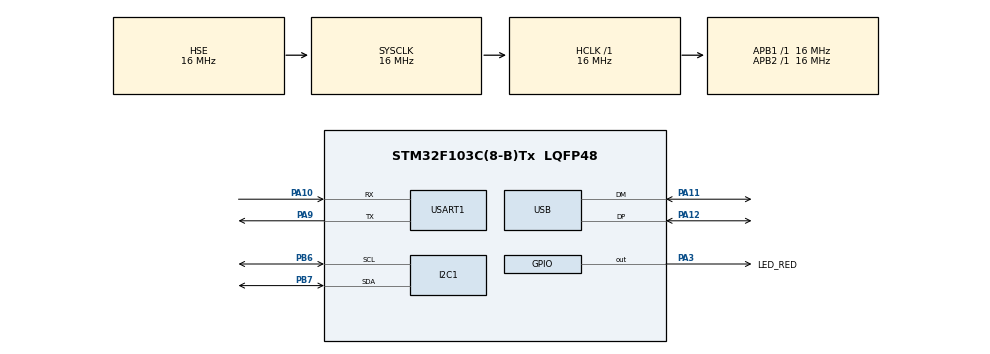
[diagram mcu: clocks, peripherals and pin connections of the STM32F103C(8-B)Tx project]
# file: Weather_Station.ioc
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I2C1.I2C_Mode=I2C_Fast
Mcu.Family=STM32F1
Mcu.Name=STM32F103C(8-B)Tx
Mcu.Package=LQFP48
NVIC.PriorityGroup=NVIC_PRIORITYGROUP_4
NVIC.USB_LP_CAN1_RX0_IRQn=true\:0\:0\:false\:false\:true\:false\:true\:true
PA10.Mode=Asynchronous
PA10.Signal=USART1_RX
PA11.Mode=Device
PA11.Signal=USB_DM
PA12.Mode=Device
PA12.Signal=USB_DP
PA13.GPIO_Label=SWDIO
PA13.Mode=Serial_Wire
PA13.Signal=SYS_JTMS-SWDIO
PA14.GPIO_Label=SWCLK
PA14.Mode=Serial_Wire
PA14.Signal=SYS_JTCK-SWCLK
PA3.GPIO_Label=LED_RED
PA3.Signal=GPIO_Output
PA9.Mode=Asynchronous
PA9.Signal=USART1_TX
PB6.Mode=I2C
PB6.Signal=I2C1_SCL
PB7.Mode=I2C
PB7.Signal=I2C1_SDA
PD0-OSC_IN.Mode=HSE-External-Oscillator
PD0-OSC_IN.Signal=RCC_OSC_IN
PD1-OSC_OUT.Mode=HSE-External-Oscillator
PD1-OSC_OUT.Signal=RCC_OSC_OUT
ProjectManager.HeapSize=0x200
ProjectManager.StackSize=0x400
ProjectManager.TargetToolchain=STM32CubeIDE
RCC.AHBFreq_Value=16000000
RCC.APB1Freq_Value=16000000
RCC.APB1TimFreq_Value=16000000
RCC.APB2Freq_Value=16000000
RCC.APB2TimFreq_Value=16000000
RCC.HCLKFreq_Value=16000000
RCC.HSE_VALUE=16000000
RCC.PLLMUL=RCC_PLL_MUL3
RCC.SYSCLKFreq_VALUE=16000000
RCC.SYSCLKSource=RCC_SYSCLKSOURCE_HSE
RCC.USBFreq_Value=48000000
USART1.VirtualMode=VM_ASYNC
USB_DEVICE.CLASS_NAME_FS=CDC
USB_DEVICE.VirtualMode=Cdc
USB_DEVICE.VirtualModeFS=Cdc_FS
VP_USB_DEVICE_VS_USB_DEVICE_CDC_FS.Mode=CDC_FS
board=custom

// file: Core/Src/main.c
/* USER CODE BEGIN Header */
/**
  ******************************************************************************
  * @file           : main.c
  * @brief          : Main program body
  ******************************************************************************
  * @attention
  *
  * Copyright (c) 2024 STMicroelectronics.
  * All rights reserved.
  *
  * This software is licensed under terms that can be found in the LICENSE file
  * in the root directory of this software component.
  * If no LICENSE file comes with this software, it is provided AS-IS.
  *
  ******************************************************************************
  */
/* USER CODE END Header */
#include "main.h"
#include "usb_device.h"

/* USER CODE BEGIN Includes */
#include "HDC1080.h"
#include "PCF8563.h"
#include "usbd_cdc_if.h"
#include "ssd1306.h"
#include "display.h"
/* USER CODE END Includes */

I2C_HandleTypeDef hi2c1;

UART_HandleTypeDef huart1;

/* USER CODE BEGIN PV */
ws_value_t weather_station_data;
uint8_t buffer_UART[100];
char temp_str[10];
char humid_str[10];
char buffer[100];
/* USER CODE END PV */

void SystemClock_Config(void);
static void MX_GPIO_Init(void);
static void MX_I2C1_Init(void);
static void MX_USART1_UART_Init(void);

int main(void)
{

  /* MCU Configuration--------------------------------------------------------*/

  /* Reset of all peripherals, Initializes the Flash interface and the Systick. */
  HAL_Init();

  /* Configure the system clock */
  SystemClock_Config();

  /* Initialize all configured peripherals */
  MX_GPIO_Init();
  MX_I2C1_Init();
  MX_USB_DEVICE_Init();
  MX_USART1_UART_Init();
  /* USER CODE BEGIN 2 */

  // HDC1080_initI2C(hi2c1);
  HDC1080_initSensor();
  HAL_Delay(20);

//  PCF8563_initI2C(hi2c1);
//  PCF8563_initRTC();

  // Display Init
  ssd1306_Init();
  ssd1306_FlipScreenVertically();
  ssd1306_MirrorFlipScreen();

  /* USER CODE END 2 */

  /* Infinite loop */
  /* USER CODE BEGIN WHILE */

  uint32_t sensor_tick = HAL_GetTick();
  uint32_t display_tick = HAL_GetTick();
  while (1)
  {

	// Sensor Readout
    if ((HAL_GetTick() - sensor_tick) >= 1000) {
	    weather_station_data = HDC1080_readData();
	    sensor_tick = HAL_GetTick();
    }
	// Plot Data on Display
    if ((HAL_GetTick() - display_tick) >= 1000) { // ToDo: Check if the Delay is working
		sprintf(temp_str, "%.1f", weather_station_data.temp_val);
		sprintf(humid_str, "%.1f%", weather_station_data.humid_val);

		display_updateDisplay("Temp:");
		HAL_Delay(1000);
		display_updateDisplay(temp_str);
		HAL_Delay(1000);

		display_updateDisplay("Humid:");
		HAL_Delay(1000);
		display_updateDisplay(humid_str);
		display_tick = HAL_GetTick();
    }

    // Send USB data
//    uint8_t data[] = "Hello from STM32!\r\n";
//    CDC_Transmit_FS(data, sizeof(data));
//    HAL_Delay(1000);

    HAL_GPIO_TogglePin(LED_RED_GPIO_Port, LED_RED_Pin);
    HAL_Delay(1000);

    /* USER CODE END WHILE */

  }
}

void SystemClock_Config(void)
{
  RCC_OscInitTypeDef RCC_OscInitStruct = {0};
  RCC_ClkInitTypeDef RCC_ClkInitStruct = {0};
  RCC_PeriphCLKInitTypeDef PeriphClkInit = {0};

  /** Initializes the RCC Oscillators according to the specified parameters
  * in the RCC_OscInitTypeDef structure.
  */
  RCC_OscInitStruct.OscillatorType = RCC_OSCILLATORTYPE_HSE;
  RCC_OscInitStruct.HSEState = RCC_HSE_ON;
  RCC_OscInitStruct.HSEPredivValue = RCC_HSE_PREDIV_DIV1;
  RCC_OscInitStruct.HSIState = RCC_HSI_ON;
  RCC_OscInitStruct.PLL.PLLState = RCC_PLL_ON;
  RCC_OscInitStruct.PLL.PLLSource = RCC_PLLSOURCE_HSE;
  RCC_OscInitStruct.PLL.PLLMUL = RCC_PLL_MUL3;
  if (HAL_RCC_OscConfig(&RCC_OscInitStruct) != HAL_OK)
  {
    Error_Handler();
  }

  /** Initializes the CPU, AHB and APB buses clocks
  */
  RCC_ClkInitStruct.ClockType = RCC_CLOCKTYPE_HCLK|RCC_CLOCKTYPE_SYSCLK
                              |RCC_CLOCKTYPE_PCLK1|RCC_CLOCKTYPE_PCLK2;
  RCC_ClkInitStruct.SYSCLKSource = RCC_SYSCLKSOURCE_HSE;
  RCC_ClkInitStruct.AHBCLKDivider = RCC_SYSCLK_DIV1;
  RCC_ClkInitStruct.APB1CLKDivider = RCC_HCLK_DIV1;
  RCC_ClkInitStruct.APB2CLKDivider = RCC_HCLK_DIV1;

  if (HAL_RCC_ClockConfig(&RCC_ClkInitStruct, FLASH_LATENCY_0) != HAL_OK)
  {
    Error_Handler();
  }
  PeriphClkInit.PeriphClockSelection = RCC_PERIPHCLK_USB;
  PeriphClkInit.UsbClockSelection = RCC_USBCLKSOURCE_PLL;
  if (HAL_RCCEx_PeriphCLKConfig(&PeriphClkInit) != HAL_OK)
  {
    Error_Handler();
  }
}

static void MX_I2C1_Init(void)
{

  hi2c1.Instance = I2C1;
  hi2c1.Init.ClockSpeed = 400000;
  hi2c1.Init.DutyCycle = I2C_DUTYCYCLE_2;
  hi2c1.Init.OwnAddress1 = 0;
  hi2c1.Init.AddressingMode = I2C_ADDRESSINGMODE_7BIT;
  hi2c1.Init.DualAddressMode = I2C_DUALADDRESS_DISABLE;
  hi2c1.Init.OwnAddress2 = 0;
  hi2c1.Init.GeneralCallMode = I2C_GENERALCALL_DISABLE;
  hi2c1.Init.NoStretchMode = I2C_NOSTRETCH_DISABLE;
  if (HAL_I2C_Init(&hi2c1) != HAL_OK)
  {
    Error_Handler();
  }

}

static void MX_USART1_UART_Init(void)
{

  huart1.Instance = USART1;
  huart1.Init.BaudRate = 115200;
  huart1.Init.WordLength = UART_WORDLENGTH_8B;
  huart1.Init.StopBits = UART_STOPBITS_1;
  huart1.Init.Parity = UART_PARITY_NONE;
  huart1.Init.Mode = UART_MODE_TX_RX;
  huart1.Init.HwFlowCtl = UART_HWCONTROL_NONE;
  huart1.Init.OverSampling = UART_OVERSAMPLING_16;
  if (HAL_UART_Init(&huart1) != HAL_OK)
  {
    Error_Handler();
  }

}

static void MX_GPIO_Init(void)
{
  GPIO_InitTypeDef GPIO_InitStruct = {0};

  /* GPIO Ports Clock Enable */
  __HAL_RCC_GPIOD_CLK_ENABLE();
  __HAL_RCC_GPIOA_CLK_ENABLE();
  __HAL_RCC_GPIOB_CLK_ENABLE();

  /*Configure GPIO pin Output Level */
  HAL_GPIO_WritePin(LED_RED_GPIO_Port, LED_RED_Pin, GPIO_PIN_RESET);

  /*Configure GPIO pin : LED_RED_Pin */
  GPIO_InitStruct.Pin = LED_RED_Pin;
  GPIO_InitStruct.Mode = GPIO_MODE_OUTPUT_PP;
  GPIO_InitStruct.Pull = GPIO_NOPULL;
  GPIO_InitStruct.Speed = GPIO_SPEED_FREQ_LOW;
  HAL_GPIO_Init(LED_RED_GPIO_Port, &GPIO_InitStruct);

}

void Error_Handler(void)
{
  __disable_irq();
  while (1)
  {
  }
}
